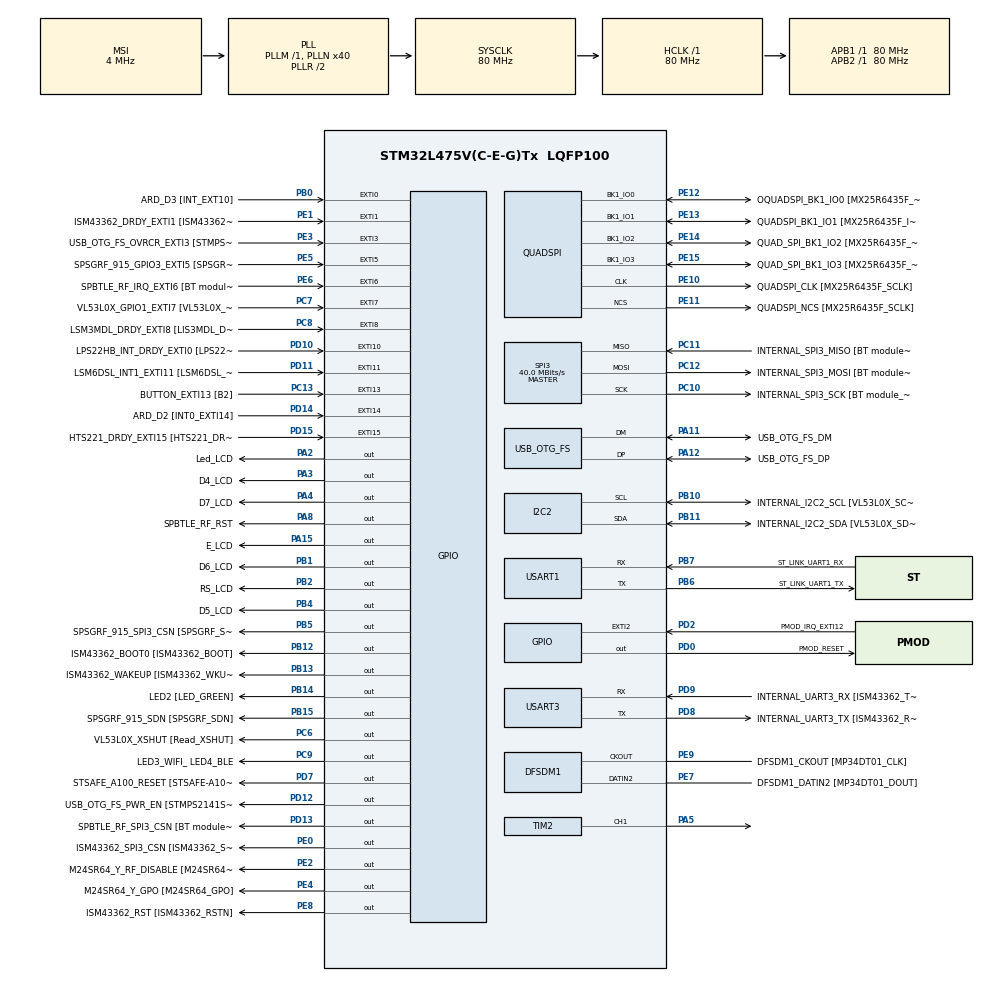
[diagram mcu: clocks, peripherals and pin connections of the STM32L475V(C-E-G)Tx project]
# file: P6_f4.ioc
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I2C2.Timing=0x10909CEC
Mcu.Family=STM32L4
Mcu.Name=STM32L475V(C-E-G)Tx
Mcu.Package=LQFP100
NVIC.EXTI15_10_IRQn=true\:0\:0\:false\:false\:true\:true\:true\:true
NVIC.EXTI9_5_IRQn=true\:0\:0\:false\:false\:true\:true\:true\:true
NVIC.OTG_FS_IRQn=true\:0\:0\:false\:false\:true\:false\:true\:true
NVIC.PriorityGroup=NVIC_PRIORITYGROUP_4
PA0.GPIO_Label=ARD_D1 [UART4_TX]
PA0.Signal=UART4_TX
PA1.GPIO_Label=ARD_D0 [UART4_RX]
PA1.Signal=UART4_RX
PA10.GPIO_Label=USB_OTG_FS_ID
PA10.Signal=USB_OTG_FS_ID
PA11.GPIO_Label=USB_OTG_FS_DM
PA11.Mode=Device_Only
PA11.Signal=USB_OTG_FS_DM
PA12.GPIO_Label=USB_OTG_FS_DP
PA12.Mode=Device_Only
PA12.Signal=USB_OTG_FS_DP
PA13\ (JTMS-SWDIO).GPIO_Label=SYS_JTMS_SWDIO
PA13\ (JTMS-SWDIO).Mode=Serial_Wire
PA13\ (JTMS-SWDIO).Signal=SYS_JTMS-SWDIO
PA14\ (JTCK-SWCLK).GPIO_Label=SYS_JTCK_SWCLK
PA14\ (JTCK-SWCLK).Mode=Serial_Wire
PA14\ (JTCK-SWCLK).Signal=SYS_JTCK-SWCLK
PA15\ (JTDI).GPIO_Label=E_LCD
PA15\ (JTDI).Signal=GPIO_Output
PA2.GPIO_Label=Led_LCD
PA2.Signal=GPIO_Output
PA3.GPIO_Label=D4_LCD
PA3.Signal=GPIO_Output
PA4.GPIO_Label=D7_LCD
PA4.Signal=GPIO_Output
PA5.Signal=S_TIM2_CH1
PA6.GPIO_Label=ARD_D12 [SPI1_MISO]
PA6.Signal=SPI1_MISO
PA7.GPIO_Label=ARD_D11 [SPI1_MOSI]
PA7.Signal=SPI1_MOSI
PA8.GPIO_Label=SPBTLE_RF_RST
PA8.Signal=GPIO_Output
PA9.GPIO_Label=USB_OTG_FS_VBUS [STMPS2141STR_OUT]
PA9.Signal=USB_OTG_FS_VBUS
PB0.GPIO_Label=ARD_D3 [INT_EXT10]
PB0.Signal=GPXTI0
PB1.GPIO_Label=D6_LCD
PB1.Signal=GPIO_Output
PB10.GPIO_Label=INTERNAL_I2C2_SCL [VL53L0X_SCL]
PB10.GPIO_Pu=GPIO_PULLUP
PB10.Mode=I2C
PB10.Signal=I2C2_SCL
PB11.GPIO_Label=INTERNAL_I2C2_SDA [VL53L0X_SDA]
PB11.GPIO_Pu=GPIO_PULLUP
PB11.Mode=I2C
PB11.Signal=I2C2_SDA
PB12.GPIO_Label=ISM43362_BOOT0 [ISM43362_BOOT]
PB12.Signal=GPIO_Output
PB13.GPIO_Label=ISM43362_WAKEUP [ISM43362_WKUP]
PB13.Signal=GPIO_Output
PB14.GPIO_Label=LED2 [LED_GREEN]
PB14.Signal=GPIO_Output
PB15.GPIO_Label=SPSGRF_915_SDN [SPSGRF_SDN]
PB15.Signal=GPIO_Output
PB2.GPIO_Label=RS_LCD
PB2.Signal=GPIO_Output
PB3\ (JTDO-TRACESWO).GPIO_Label=SYS_JTD0_SWO
PB3\ (JTDO-TRACESWO).Signal=SYS_JTDO-SWO
PB4\ (NJTRST).GPIO_Label=D5_LCD
PB4\ (NJTRST).Signal=GPIO_Output
PB5.GPIO_Label=SPSGRF_915_SPI3_CSN [SPSGRF_SPI_CS]
PB5.PinState=GPIO_PIN_SET
PB5.Signal=GPIO_Output
PB6.GPIO_Label=ST_LINK_UART1_TX
PB6.Mode=Asynchronous
PB6.Signal=USART1_TX
PB7.GPIO_Label=ST_LINK_UART1_RX
PB7.Mode=Asynchronous
PB7.Signal=USART1_RX
PB8.GPIO_Label=ARD_D15 [I2C1_SCL]
PB8.Signal=I2C1_SCL
PB9.GPIO_Label=ARD_D14 [I2C1_SDA]
PB9.Signal=I2C1_SDA
PC0.GPIO_Label=ARD_A5 [ADC]
PC0.Signal=ADCx_IN1
PC1.GPIO_Label=ARD_A4 [ADC]
PC1.Signal=ADCx_IN2
PC10.GPIO_Label=INTERNAL_SPI3_SCK [BT module_SPI_SCLK] [ISM43362_SCK]
PC10.Mode=Full_Duplex_Master
PC10.Signal=SPI3_SCK
PC11.GPIO_Label=INTERNAL_SPI3_MISO [BT module_SPI_MISO] [ISM43362_MISO]
PC11.Mode=Full_Duplex_Master
PC11.Signal=SPI3_MISO
PC12.GPIO_Label=INTERNAL_SPI3_MOSI [BT module_SPI_MOSI] [ISM43362_MOSI]
PC12.Mode=Full_Duplex_Master
PC12.Signal=SPI3_MOSI
PC13.GPIO_Label=BUTTON_EXTI13 [B2]
PC13.GPIO_ModeDefaultEXTI=GPIO_MODE_IT_RISING_FALLING
PC13.GPIO_PuPd=GPIO_NOPULL
PC13.Signal=GPXTI13
PC14-OSC32_IN\ (PC14).Mode=LSE-External-Oscillator
PC14-OSC32_IN\ (PC14).Signal=RCC_OSC32_IN
PC15-OSC32_OUT\ (PC15).Mode=LSE-External-Oscillator
PC15-OSC32_OUT\ (PC15).Signal=RCC_OSC32_OUT
PC2.GPIO_Label=ARD_A3 [ADC]
PC2.Signal=ADCx_IN3
PC3.GPIO_Label=ARD_A2 [ADC]
PC3.Signal=ADCx_IN4
PC4.GPIO_Label=ARD_A1 [ADC]
PC4.Signal=ADCx_IN13
PC5.GPIO_Label=ARD_A0 [ADC]
PC5.Signal=ADCx_IN14
PC6.GPIO_Label=VL53L0X_XSHUT [Read_XSHUT]
PC6.Signal=GPIO_Output
PC7.GPIO_Label=VL53L0X_GPIO1_EXTI7 [VL53L0X_GPIO1]
PC7.Signal=GPXTI7
PC8.GPIO_Label=LSM3MDL_DRDY_EXTI8 [LIS3MDL_DRDY]
PC8.Signal=GPXTI8
PC9.GPIO_Label=LED3_WIFI_ LED4_BLE
PC9.Signal=GPIO_Output
PD0.GPIO_Label=PMOD_RESET
PD0.Signal=GPIO_Output
PD1.GPIO_Label=PMOD_SPI2_SCK
PD1.Signal=SPI2_SCK
PD10.GPIO_Label=LPS22HB_INT_DRDY_EXTI0 [LPS22HB_INT_DRDY] 
PD10.Signal=GPXTI10
PD11.GPIO_Label=LSM6DSL_INT1_EXTI11 [LSM6DSL_INT1]
PD11.Signal=GPXTI11
PD12.GPIO_Label=USB_OTG_FS_PWR_EN [STMPS2141STR_EN]
PD12.Signal=GPIO_Output
PD13.GPIO_Label=SPBTLE_RF_SPI3_CSN [BT module_SPI_CS]
PD13.PinState=GPIO_PIN_SET
PD13.Signal=GPIO_Output
PD14.GPIO_Label=ARD_D2 [INT0_EXTI14]
PD14.Signal=GPXTI14
PD15.GPIO_Label=HTS221_DRDY_EXTI15 [HTS221_DRDY]
PD15.Signal=GPXTI15
PD2.GPIO_Label=PMOD_IRQ_EXTI12
PD2.Signal=GPXTI2
PD3.GPIO_Label=PMOD_UART2_CTS
PD3.Signal=USART2_CTS
PD4.GPIO_Label=PMOD_UART2_RTS
PD4.Signal=USART2_RTS
PD5.GPIO_Label=PMOD_UART2_TX
PD5.Signal=USART2_TX
PD6.GPIO_Label=PMOD_UART2_RX
PD6.Signal=USART2_RX
PD7.GPIO_Label=STSAFE_A100_RESET [STSAFE-A100_RESET]
PD7.Signal=GPIO_Output
PD8.GPIO_Label=INTERNAL_UART3_TX [ISM43362_RX]
PD8.Mode=Asynchronous
PD8.Signal=USART3_TX
PD9.GPIO_Label=INTERNAL_UART3_RX [ISM43362_TX]
PD9.Mode=Asynchronous
PD9.Signal=USART3_RX
PE0.GPIO_Label=ISM43362_SPI3_CSN [ISM43362_SSN]
PE0.PinState=GPIO_PIN_SET
PE0.Signal=GPIO_Output
PE1.GPIO_Label=ISM43362_DRDY_EXTI1 [ISM43362_DATARDY]
PE1.Signal=GPXTI1
PE10.GPIO_Label=QUADSPI_CLK [MX25R6435F_SCLK]
PE10.Mode=Single Bank
PE10.Signal=QUADSPI_CLK
PE11.GPIO_Label=QUADSPI_NCS [MX25R6435F_SCLK]
PE11.Mode=Single Bank
PE11.Signal=QUADSPI_NCS
PE12.GPIO_Label=OQUADSPI_BK1_IO0 [MX25R6435F_IO0]
PE12.Mode=Single Bank
PE12.Signal=QUADSPI_BK1_IO0
PE13.GPIO_Label=QUADSPI_BK1_IO1 [MX25R6435F_IO1]
PE13.Mode=Single Bank
PE13.Signal=QUADSPI_BK1_IO1
PE14.GPIO_Label=QUAD_SPI_BK1_IO2 [MX25R6435F_IO2]
PE14.Mode=Single Bank
PE14.Signal=QUADSPI_BK1_IO2
PE15.GPIO_Label=QUAD_SPI_BK1_IO3 [MX25R6435F_IO3]
PE15.Mode=Single Bank
PE15.Signal=QUADSPI_BK1_IO3
PE2.GPIO_Label=M24SR64_Y_RF_DISABLE [M24SR64_RFDIS]
PE2.Signal=GPIO_Output
PE3.GPIO_Label=USB_OTG_FS_OVRCR_EXTI3 [STMPS2141STR_FAULT]
PE3.Signal=GPXTI3
PE4.GPIO_Label=M24SR64_Y_GPO [M24SR64_GPO]
PE4.Signal=GPIO_Output
PE5.GPIO_Label=SPSGRF_915_GPIO3_EXTI5 [SPSGRF_GPIO_3]
PE5.Signal=GPXTI5
PE6.GPIO_Label=SPBTLE_RF_IRQ_EXTI6 [BT module_SPI_IRQ]
PE6.Signal=GPXTI6
PE7.GPIO_Label=DFSDM1_DATIN2 [MP34DT01_DOUT]
PE7.Signal=S_DATAIN2DFSDM1
PE8.GPIO_Label=ISM43362_RST [ISM43362_RSTN]
PE8.Signal=GPIO_Output
PE9.GPIO_Label=DFSDM1_CKOUT [MP34DT01_CLK]
PE9.Signal=S_CKOUTDFSDM1
ProjectManager.HeapSize=0x200
ProjectManager.StackSize=0x400
ProjectManager.TargetToolchain=STM32CubeIDE
QUADSPI.ClockPrescaler=2
QUADSPI.FifoThreshold=4
QUADSPI.FlashSize=23
QUADSPI.SampleShifting=QSPI_SAMPLE_SHIFTING_HALFCYCLE
RCC.ADCFreq_Value=48000000
RCC.AHBFreq_Value=80000000
RCC.APB1Freq_Value=80000000
RCC.APB1TimFreq_Value=80000000
RCC.APB2Freq_Value=80000000
RCC.APB2TimFreq_Value=80000000
RCC.CortexFreq_Value=80000000
RCC.HCLKFreq_Value=80000000
RCC.HSE_VALUE=8000000
RCC.HSI_VALUE=16000000
RCC.MSI_VALUE=4000000
RCC.PLLN=40
RCC.PLLSAI1N=24
RCC.SYSCLKFreq_VALUE=80000000
RCC.SYSCLKSource=RCC_SYSCLKSOURCE_PLLCLK
RCC.USBFreq_Value=48000000
RCC.VCOOutputFreq_Value=160000000
SH.ADCx_IN1.0=ADC1_IN1
SH.ADCx_IN13.0=ADC1_IN13
SH.ADCx_IN14.0=ADC1_IN14
SH.ADCx_IN2.0=ADC1_IN2
SH.ADCx_IN3.0=ADC1_IN3
SH.ADCx_IN4.0=ADC1_IN4
SH.S_CKOUTDFSDM1.0=DFSDM1_CKOUT,CKOUT
SH.S_CKOUTDFSDM1.1=DFSDM1_CKOUT,PDM_SPI_Input_from_ch12_and_Internal_Clock
SH.S_DATAIN2DFSDM1.0=DFSDM1_DATIN2,PDM_SPI_Input_from_ch12_and_Internal_Clock
SH.S_TIM2_CH1.0=TIM2_CH1,PWM Generation1 CH1
SPI3.CalculateBaudRate=40.0 MBits/s
SPI3.Direction=SPI_DIRECTION_2LINES
SPI3.Mode=SPI_MODE_MASTER
SPI3.VirtualType=VM_MASTER
TIM2.Channel-PWM\ Generation1\ CH1=TIM_CHANNEL_1
TIM2.Period=4000
USART1.VirtualMode-Asynchronous=VM_ASYNC
USART3.VirtualMode-Asynchronous=VM_ASYNC
USB_DEVICE.CLASS_NAME_FS=CUSTOM_HID
USB_DEVICE.PID_CUSTOMHID_FS=23456
USB_DEVICE.USBD_CUSTOMHID_OUTREPORT_BUF_SIZE=7
USB_DEVICE.USBD_CUSTOM_HID_REPORT_DESC_SIZE=29
USB_DEVICE.VID=1337
USB_DEVICE.VirtualMode=CustomHid
USB_DEVICE.VirtualModeFS=Custom_Hid_FS
USB_OTG_FS.VirtualMode=Device_Only
VP_USB_DEVICE_VS_USB_DEVICE_CUSTOM_HID_FS.Mode=CUSTOM_HID_FS
board=B-L475E-IOT01A2

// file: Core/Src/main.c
/* USER CODE BEGIN Header */
/**
  ******************************************************************************
  * @file           : main.c
  * @brief          : Main program body
  ******************************************************************************
  * @attention
  *
  * Copyright (c) 2024 STMicroelectronics.
  * All rights reserved.
  *
  * This software is licensed under terms that can be found in the LICENSE file
  * in the root directory of this software component.
  * If no LICENSE file comes with this software, it is provided AS-IS.
  *
  ******************************************************************************
  */
/* USER CODE END Header */
#include "main.h"
#include "usb_device.h"

/* USER CODE BEGIN Includes */
#include "hd44780.h"
/* USER CODE END Includes */

DFSDM_Channel_HandleTypeDef hdfsdm1_channel1;

I2C_HandleTypeDef hi2c2;

QSPI_HandleTypeDef hqspi;

SPI_HandleTypeDef hspi3;

TIM_HandleTypeDef htim2;

UART_HandleTypeDef huart1;
UART_HandleTypeDef huart3;

void SystemClock_Config(void);
static void MX_GPIO_Init(void);
static void MX_DFSDM1_Init(void);
static void MX_I2C2_Init(void);
static void MX_QUADSPI_Init(void);
static void MX_SPI3_Init(void);
static void MX_USART1_UART_Init(void);
static void MX_USART3_UART_Init(void);
static void MX_TIM2_Init(void);

/* USER CODE BEGIN 0 */
extern USBD_HandleTypeDef hUsbDeviceFS;
extern uint8_t miflag;
void setServoPos(float ang){
	if(ang>= 0 && ang<= 180){
    uint16_t grad  = 11.11*ang+500;
 	 __HAL_TIM_SET_COMPARE(&htim2,TIM_CHANNEL_1,grad);
	}
}
/* USER CODE END 0 */

int main(void)
{

  /* MCU Configuration--------------------------------------------------------*/

  /* Reset of all peripherals, Initializes the Flash interface and the Systick. */
  HAL_Init();

  /* Configure the system clock */
  SystemClock_Config();

  /* Initialize all configured peripherals */
  MX_GPIO_Init();
  MX_DFSDM1_Init();
  MX_I2C2_Init();
  MX_QUADSPI_Init();
  MX_SPI3_Init();
  MX_USART1_UART_Init();
  MX_USART3_UART_Init();
  MX_USB_DEVICE_Init();
  MX_TIM2_Init();
  /* USER CODE BEGIN 2 */

lcd_reset();
lcd_display_settings(1,0,0);
lcd_clear();
HAL_GPIO_WritePin(Led_LCD_GPIO_Port, Led_LCD_Pin, 1);
lcd_print("Fase4");
HAL_Delay(5000);

uint8_t dato[6];
USBD_LL_PrepareReceive(&hUsbDeviceFS, 1,dato, 6);
uint8_t datoCiclo[6] = {115,101,116,114,0,0}; //setr ascii
char str[1];
int i;
  /* USER CODE END 2 */

  /* Infinite loop */
  /* USER CODE BEGIN WHILE */
  while (1)
  {
if(miflag==1){
	USBD_LL_PrepareReceive(&hUsbDeviceFS, 1,dato, 6);
	miflag=0; //bajamos la bandera
	//uasumo que un floatocupa cuatro bytes 32 bits
	//raconstruimos el ángulo
	//float ang = (float)((dato[3]<<24)|(dato[2]<<16)|(dato[1]<<8)|dato[0]);
	float ang = (float)dato[0];
	//siempre imprimimos el caracter en la pantalla
	lcd_clear();
	char string[20];
	//enablear el float
	setServoPos(ang);
	sprintf(str,"Ang: %.1f",ang);
	lcd_print(string);

}
//enviamos esta cadena  para saber que se ha terminado el ciclo
USBD_CUSTOM_HID_SendReport_FS(datoCiclo,6);
    /* USER CODE END WHILE */

  }
}

void SystemClock_Config(void)
{
  RCC_OscInitTypeDef RCC_OscInitStruct = {0};
  RCC_ClkInitTypeDef RCC_ClkInitStruct = {0};

  /** Configure the main internal regulator output voltage
  */
  if (HAL_PWREx_ControlVoltageScaling(PWR_REGULATOR_VOLTAGE_SCALE1) != HAL_OK)
  {
    Error_Handler();
  }

  /** Configure LSE Drive Capability
  */
  HAL_PWR_EnableBkUpAccess();
  __HAL_RCC_LSEDRIVE_CONFIG(RCC_LSEDRIVE_LOW);

  /** Initializes the RCC Oscillators according to the specified parameters
  * in the RCC_OscInitTypeDef structure.
  */
  RCC_OscInitStruct.OscillatorType = RCC_OSCILLATORTYPE_LSE|RCC_OSCILLATORTYPE_MSI;
  RCC_OscInitStruct.LSEState = RCC_LSE_ON;
  RCC_OscInitStruct.MSIState = RCC_MSI_ON;
  RCC_OscInitStruct.MSICalibrationValue = 0;
  RCC_OscInitStruct.MSIClockRange = RCC_MSIRANGE_6;
  RCC_OscInitStruct.PLL.PLLState = RCC_PLL_ON;
  RCC_OscInitStruct.PLL.PLLSource = RCC_PLLSOURCE_MSI;
  RCC_OscInitStruct.PLL.PLLM = 1;
  RCC_OscInitStruct.PLL.PLLN = 40;
  RCC_OscInitStruct.PLL.PLLP = RCC_PLLP_DIV7;
  RCC_OscInitStruct.PLL.PLLQ = RCC_PLLQ_DIV2;
  RCC_OscInitStruct.PLL.PLLR = RCC_PLLR_DIV2;
  if (HAL_RCC_OscConfig(&RCC_OscInitStruct) != HAL_OK)
  {
    Error_Handler();
  }

  /** Initializes the CPU, AHB and APB buses clocks
  */
  RCC_ClkInitStruct.ClockType = RCC_CLOCKTYPE_HCLK|RCC_CLOCKTYPE_SYSCLK
                              |RCC_CLOCKTYPE_PCLK1|RCC_CLOCKTYPE_PCLK2;
  RCC_ClkInitStruct.SYSCLKSource = RCC_SYSCLKSOURCE_PLLCLK;
  RCC_ClkInitStruct.AHBCLKDivider = RCC_SYSCLK_DIV1;
  RCC_ClkInitStruct.APB1CLKDivider = RCC_HCLK_DIV1;
  RCC_ClkInitStruct.APB2CLKDivider = RCC_HCLK_DIV1;

  if (HAL_RCC_ClockConfig(&RCC_ClkInitStruct, FLASH_LATENCY_4) != HAL_OK)
  {
    Error_Handler();
  }

  /** Enable MSI Auto calibration
  */
  HAL_RCCEx_EnableMSIPLLMode();
}

static void MX_DFSDM1_Init(void)
{

  hdfsdm1_channel1.Instance = DFSDM1_Channel1;
  hdfsdm1_channel1.Init.OutputClock.Activation = ENABLE;
  hdfsdm1_channel1.Init.OutputClock.Selection = DFSDM_CHANNEL_OUTPUT_CLOCK_SYSTEM;
  hdfsdm1_channel1.Init.OutputClock.Divider = 2;
  hdfsdm1_channel1.Init.Input.Multiplexer = DFSDM_CHANNEL_EXTERNAL_INPUTS;
  hdfsdm1_channel1.Init.Input.DataPacking = DFSDM_CHANNEL_STANDARD_MODE;
  hdfsdm1_channel1.Init.Input.Pins = DFSDM_CHANNEL_FOLLOWING_CHANNEL_PINS;
  hdfsdm1_channel1.Init.SerialInterface.Type = DFSDM_CHANNEL_SPI_RISING;
  hdfsdm1_channel1.Init.SerialInterface.SpiClock = DFSDM_CHANNEL_SPI_CLOCK_INTERNAL;
  hdfsdm1_channel1.Init.Awd.FilterOrder = DFSDM_CHANNEL_FASTSINC_ORDER;
  hdfsdm1_channel1.Init.Awd.Oversampling = 1;
  hdfsdm1_channel1.Init.Offset = 0;
  hdfsdm1_channel1.Init.RightBitShift = 0x00;
  if (HAL_DFSDM_ChannelInit(&hdfsdm1_channel1) != HAL_OK)
  {
    Error_Handler();
  }

}

static void MX_I2C2_Init(void)
{

  hi2c2.Instance = I2C2;
  hi2c2.Init.Timing = 0x10909CEC;
  hi2c2.Init.OwnAddress1 = 0;
  hi2c2.Init.AddressingMode = I2C_ADDRESSINGMODE_7BIT;
  hi2c2.Init.DualAddressMode = I2C_DUALADDRESS_DISABLE;
  hi2c2.Init.OwnAddress2 = 0;
  hi2c2.Init.OwnAddress2Masks = I2C_OA2_NOMASK;
  hi2c2.Init.GeneralCallMode = I2C_GENERALCALL_DISABLE;
  hi2c2.Init.NoStretchMode = I2C_NOSTRETCH_DISABLE;
  if (HAL_I2C_Init(&hi2c2) != HAL_OK)
  {
    Error_Handler();
  }

  /** Configure Analogue filter
  */
  if (HAL_I2CEx_ConfigAnalogFilter(&hi2c2, I2C_ANALOGFILTER_ENABLE) != HAL_OK)
  {
    Error_Handler();
  }

  /** Configure Digital filter
  */
  if (HAL_I2CEx_ConfigDigitalFilter(&hi2c2, 0) != HAL_OK)
  {
    Error_Handler();
  }

}

static void MX_QUADSPI_Init(void)
{

  /* QUADSPI parameter configuration*/
  hqspi.Instance = QUADSPI;
  hqspi.Init.ClockPrescaler = 2;
  hqspi.Init.FifoThreshold = 4;
  hqspi.Init.SampleShifting = QSPI_SAMPLE_SHIFTING_HALFCYCLE;
  hqspi.Init.FlashSize = 23;
  hqspi.Init.ChipSelectHighTime = QSPI_CS_HIGH_TIME_1_CYCLE;
  hqspi.Init.ClockMode = QSPI_CLOCK_MODE_0;
  if (HAL_QSPI_Init(&hqspi) != HAL_OK)
  {
    Error_Handler();
  }

}

static void MX_SPI3_Init(void)
{

  /* SPI3 parameter configuration*/
  hspi3.Instance = SPI3;
  hspi3.Init.Mode = SPI_MODE_MASTER;
  hspi3.Init.Direction = SPI_DIRECTION_2LINES;
  hspi3.Init.DataSize = SPI_DATASIZE_4BIT;
  hspi3.Init.CLKPolarity = SPI_POLARITY_LOW;
  hspi3.Init.CLKPhase = SPI_PHASE_1EDGE;
  hspi3.Init.NSS = SPI_NSS_SOFT;
  hspi3.Init.BaudRatePrescaler = SPI_BAUDRATEPRESCALER_2;
  hspi3.Init.FirstBit = SPI_FIRSTBIT_MSB;
  hspi3.Init.TIMode = SPI_TIMODE_DISABLE;
  hspi3.Init.CRCCalculation = SPI_CRCCALCULATION_DISABLE;
  hspi3.Init.CRCPolynomial = 7;
  hspi3.Init.CRCLength = SPI_CRC_LENGTH_DATASIZE;
  hspi3.Init.NSSPMode = SPI_NSS_PULSE_ENABLE;
  if (HAL_SPI_Init(&hspi3) != HAL_OK)
  {
    Error_Handler();
  }

}

static void MX_TIM2_Init(void)
{

  TIM_MasterConfigTypeDef sMasterConfig = {0};
  TIM_OC_InitTypeDef sConfigOC = {0};

  htim2.Instance = TIM2;
  htim2.Init.Prescaler = 0;
  htim2.Init.CounterMode = TIM_COUNTERMODE_UP;
  htim2.Init.Period = 4000;
  htim2.Init.ClockDivision = TIM_CLOCKDIVISION_DIV1;
  htim2.Init.AutoReloadPreload = TIM_AUTORELOAD_PRELOAD_DISABLE;
  if (HAL_TIM_PWM_Init(&htim2) != HAL_OK)
  {
    Error_Handler();
  }
  sMasterConfig.MasterOutputTrigger = TIM_TRGO_RESET;
  sMasterConfig.MasterSlaveMode = TIM_MASTERSLAVEMODE_DISABLE;
  if (HAL_TIMEx_MasterConfigSynchronization(&htim2, &sMasterConfig) != HAL_OK)
  {
    Error_Handler();
  }
  sConfigOC.OCMode = TIM_OCMODE_PWM1;
  sConfigOC.Pulse = 0;
  sConfigOC.OCPolarity = TIM_OCPOLARITY_HIGH;
  sConfigOC.OCFastMode = TIM_OCFAST_DISABLE;
  if (HAL_TIM_PWM_ConfigChannel(&htim2, &sConfigOC, TIM_CHANNEL_1) != HAL_OK)
  {
    Error_Handler();
  }
  HAL_TIM_MspPostInit(&htim2);

}

static void MX_USART1_UART_Init(void)
{

  huart1.Instance = USART1;
  huart1.Init.BaudRate = 115200;
  huart1.Init.WordLength = UART_WORDLENGTH_8B;
  huart1.Init.StopBits = UART_STOPBITS_1;
  huart1.Init.Parity = UART_PARITY_NONE;
  huart1.Init.Mode = UART_MODE_TX_RX;
  huart1.Init.HwFlowCtl = UART_HWCONTROL_NONE;
  huart1.Init.OverSampling = UART_OVERSAMPLING_16;
  huart1.Init.OneBitSampling = UART_ONE_BIT_SAMPLE_DISABLE;
  huart1.AdvancedInit.AdvFeatureInit = UART_ADVFEATURE_NO_INIT;
  if (HAL_UART_Init(&huart1) != HAL_OK)
  {
    Error_Handler();
  }

}

static void MX_USART3_UART_Init(void)
{

  huart3.Instance = USART3;
  huart3.Init.BaudRate = 115200;
  huart3.Init.WordLength = UART_WORDLENGTH_8B;
  huart3.Init.StopBits = UART_STOPBITS_1;
  huart3.Init.Parity = UART_PARITY_NONE;
  huart3.Init.Mode = UART_MODE_TX_RX;
  huart3.Init.HwFlowCtl = UART_HWCONTROL_NONE;
  huart3.Init.OverSampling = UART_OVERSAMPLING_16;
  huart3.Init.OneBitSampling = UART_ONE_BIT_SAMPLE_DISABLE;
  huart3.AdvancedInit.AdvFeatureInit = UART_ADVFEATURE_NO_INIT;
  if (HAL_UART_Init(&huart3) != HAL_OK)
  {
    Error_Handler();
  }

}

static void MX_GPIO_Init(void)
{
  GPIO_InitTypeDef GPIO_InitStruct = {0};

  /* GPIO Ports Clock Enable */
  __HAL_RCC_GPIOE_CLK_ENABLE();
  __HAL_RCC_GPIOC_CLK_ENABLE();
  __HAL_RCC_GPIOA_CLK_ENABLE();
  __HAL_RCC_GPIOB_CLK_ENABLE();
  __HAL_RCC_GPIOD_CLK_ENABLE();

  /*Configure GPIO pin Output Level */
  HAL_GPIO_WritePin(GPIOE, M24SR64_Y_RF_DISABLE_Pin|M24SR64_Y_GPO_Pin|ISM43362_RST_Pin, GPIO_PIN_RESET);

  /*Configure GPIO pin Output Level */
  HAL_GPIO_WritePin(GPIOA, Led_LCD_Pin|D4_LCD_Pin|D7_LCD_Pin|SPBTLE_RF_RST_Pin
                          |E_LCD_Pin, GPIO_PIN_RESET);

  /*Configure GPIO pin Output Level */
  HAL_GPIO_WritePin(GPIOB, D6_LCD_Pin|RS_LCD_Pin|ISM43362_BOOT0_Pin|ISM43362_WAKEUP_Pin
                          |LED2_Pin|SPSGRF_915_SDN_Pin|D5_LCD_Pin, GPIO_PIN_RESET);

  /*Configure GPIO pin Output Level */
  HAL_GPIO_WritePin(GPIOD, USB_OTG_FS_PWR_EN_Pin|PMOD_RESET_Pin|STSAFE_A100_RESET_Pin, GPIO_PIN_RESET);

  /*Configure GPIO pin Output Level */
  HAL_GPIO_WritePin(SPBTLE_RF_SPI3_CSN_GPIO_Port, SPBTLE_RF_SPI3_CSN_Pin, GPIO_PIN_SET);

  /*Configure GPIO pin Output Level */
  HAL_GPIO_WritePin(GPIOC, VL53L0X_XSHUT_Pin|LED3_WIFI__LED4_BLE_Pin, GPIO_PIN_RESET);

  /*Configure GPIO pin Output Level */
  HAL_GPIO_WritePin(SPSGRF_915_SPI3_CSN_GPIO_Port, SPSGRF_915_SPI3_CSN_Pin, GPIO_PIN_SET);

  /*Configure GPIO pin Output Level */
  HAL_GPIO_WritePin(ISM43362_SPI3_CSN_GPIO_Port, ISM43362_SPI3_CSN_Pin, GPIO_PIN_SET);

  /*Configure GPIO pins : M24SR64_Y_RF_DISABLE_Pin M24SR64_Y_GPO_Pin ISM43362_RST_Pin ISM43362_SPI3_CSN_Pin */
  GPIO_InitStruct.Pin = M24SR64_Y_RF_DISABLE_Pin|M24SR64_Y_GPO_Pin|ISM43362_RST_Pin|ISM43362_SPI3_CSN_Pin;
  GPIO_InitStruct.Mode = GPIO_MODE_OUTPUT_PP;
  GPIO_InitStruct.Pull = GPIO_NOPULL;
  GPIO_InitStruct.Speed = GPIO_SPEED_FREQ_LOW;
  HAL_GPIO_Init(GPIOE, &GPIO_InitStruct);

  /*Configure GPIO pins : USB_OTG_FS_OVRCR_EXTI3_Pin SPSGRF_915_GPIO3_EXTI5_Pin SPBTLE_RF_IRQ_EXTI6_Pin ISM43362_DRDY_EXTI1_Pin */
  GPIO_InitStruct.Pin = USB_OTG_FS_OVRCR_EXTI3_Pin|SPSGRF_915_GPIO3_EXTI5_Pin|SPBTLE_RF_IRQ_EXTI6_Pin|ISM43362_DRDY_EXTI1_Pin;
  GPIO_InitStruct.Mode = GPIO_MODE_IT_RISING;
  GPIO_InitStruct.Pull = GPIO_NOPULL;
  HAL_GPIO_Init(GPIOE, &GPIO_InitStruct);

  /*Configure GPIO pin : BUTTON_EXTI13_Pin */
  GPIO_InitStruct.Pin = BUTTON_EXTI13_Pin;
  GPIO_InitStruct.Mode = GPIO_MODE_IT_RISING_FALLING;
  GPIO_InitStruct.Pull = GPIO_NOPULL;
  HAL_GPIO_Init(BUTTON_EXTI13_GPIO_Port, &GPIO_InitStruct);

  /*Configure GPIO pins : ARD_A5_Pin ARD_A4_Pin ARD_A3_Pin ARD_A2_Pin
                           ARD_A1_Pin ARD_A0_Pin */
  GPIO_InitStruct.Pin = ARD_A5_Pin|ARD_A4_Pin|ARD_A3_Pin|ARD_A2_Pin
                          |ARD_A1_Pin|ARD_A0_Pin;
  GPIO_InitStruct.Mode = GPIO_MODE_ANALOG_ADC_CONTROL;
  GPIO_InitStruct.Pull = GPIO_NOPULL;
  HAL_GPIO_Init(GPIOC, &GPIO_InitStruct);

  /*Configure GPIO pins : ARD_D1_Pin ARD_D0_Pin */
  GPIO_InitStruct.Pin = ARD_D1_Pin|ARD_D0_Pin;
  GPIO_InitStruct.Mode = GPIO_MODE_AF_PP;
  GPIO_InitStruct.Pull = GPIO_NOPULL;
  GPIO_InitStruct.Speed = GPIO_SPEED_FREQ_VERY_HIGH;
  GPIO_InitStruct.Alternate = GPIO_AF8_UART4;
  HAL_GPIO_Init(GPIOA, &GPIO_InitStruct);

  /*Configure GPIO pins : Led_LCD_Pin D4_LCD_Pin D7_LCD_Pin SPBTLE_RF_RST_Pin
                           E_LCD_Pin */
  GPIO_InitStruct.Pin = Led_LCD_Pin|D4_LCD_Pin|D7_LCD_Pin|SPBTLE_RF_RST_Pin
                          |E_LCD_Pin;
  GPIO_InitStruct.Mode = GPIO_MODE_OUTPUT_PP;
  GPIO_InitStruct.Pull = GPIO_NOPULL;
  GPIO_InitStruct.Speed = GPIO_SPEED_FREQ_LOW;
  HAL_GPIO_Init(GPIOA, &GPIO_InitStruct);

  /*Configure GPIO pins : ARD_D12_Pin ARD_D11_Pin */
  GPIO_InitStruct.Pin = ARD_D12_Pin|ARD_D11_Pin;
  GPIO_InitStruct.Mode = GPIO_MODE_AF_PP;
  GPIO_InitStruct.Pull = GPIO_NOPULL;
  GPIO_InitStruct.Speed = GPIO_SPEED_FREQ_VERY_HIGH;
  GPIO_InitStruct.Alternate = GPIO_AF5_SPI1;
  HAL_GPIO_Init(GPIOA, &GPIO_InitStruct);

  /*Configure GPIO pin : ARD_D3_Pin */
  GPIO_InitStruct.Pin = ARD_D3_Pin;
  GPIO_InitStruct.Mode = GPIO_MODE_IT_RISING;
  GPIO_InitStruct.Pull = GPIO_NOPULL;
  HAL_GPIO_Init(ARD_D3_GPIO_Port, &GPIO_InitStruct);

  /*Configure GPIO pins : D6_LCD_Pin RS_LCD_Pin ISM43362_BOOT0_Pin ISM43362_WAKEUP_Pin
                           LED2_Pin SPSGRF_915_SDN_Pin D5_LCD_Pin SPSGRF_915_SPI3_CSN_Pin */
  GPIO_InitStruct.Pin = D6_LCD_Pin|RS_LCD_Pin|ISM43362_BOOT0_Pin|ISM43362_WAKEUP_Pin
                          |LED2_Pin|SPSGRF_915_SDN_Pin|D5_LCD_Pin|SPSGRF_915_SPI3_CSN_Pin;
  GPIO_InitStruct.Mode = GPIO_MODE_OUTPUT_PP;
  GPIO_InitStruct.Pull = GPIO_NOPULL;
  GPIO_InitStruct.Speed = GPIO_SPEED_FREQ_LOW;
  HAL_GPIO_Init(GPIOB, &GPIO_InitStruct);

  /*Configure GPIO pins : LPS22HB_INT_DRDY_EXTI0_Pin LSM6DSL_INT1_EXTI11_Pin ARD_D2_Pin HTS221_DRDY_EXTI15_Pin
                           PMOD_IRQ_EXTI12_Pin */
  GPIO_InitStruct.Pin = LPS22HB_INT_DRDY_EXTI0_Pin|LSM6DSL_INT1_EXTI11_Pin|ARD_D2_Pin|HTS221_DRDY_EXTI15_Pin
                          |PMOD_IRQ_EXTI12_Pin;
  GPIO_InitStruct.Mode = GPIO_MODE_IT_RISING;
  GPIO_InitStruct.Pull = GPIO_NOPULL;
  HAL_GPIO_Init(GPIOD, &GPIO_InitStruct);

  /*Configure GPIO pins : USB_OTG_FS_PWR_EN_Pin SPBTLE_RF_SPI3_CSN_Pin PMOD_RESET_Pin STSAFE_A100_RESET_Pin */
  GPIO_InitStruct.Pin = USB_OTG_FS_PWR_EN_Pin|SPBTLE_RF_SPI3_CSN_Pin|PMOD_RESET_Pin|STSAFE_A100_RESET_Pin;
  GPIO_InitStruct.Mode = GPIO_MODE_OUTPUT_PP;
  GPIO_InitStruct.Pull = GPIO_NOPULL;
  GPIO_InitStruct.Speed = GPIO_SPEED_FREQ_LOW;
  HAL_GPIO_Init(GPIOD, &GPIO_InitStruct);

  /*Configure GPIO pins : VL53L0X_XSHUT_Pin LED3_WIFI__LED4_BLE_Pin */
  GPIO_InitStruct.Pin = VL53L0X_XSHUT_Pin|LED3_WIFI__LED4_BLE_Pin;
  GPIO_InitStruct.Mode = GPIO_MODE_OUTPUT_PP;
  GPIO_InitStruct.Pull = GPIO_NOPULL;
  GPIO_InitStruct.Speed = GPIO_SPEED_FREQ_LOW;
  HAL_GPIO_Init(GPIOC, &GPIO_InitStruct);

  /*Configure GPIO pins : VL53L0X_GPIO1_EXTI7_Pin LSM3MDL_DRDY_EXTI8_Pin */
  GPIO_InitStruct.Pin = VL53L0X_GPIO1_EXTI7_Pin|LSM3MDL_DRDY_EXTI8_Pin;
  GPIO_InitStruct.Mode = GPIO_MODE_IT_RISING;
  GPIO_InitStruct.Pull = GPIO_NOPULL;
  HAL_GPIO_Init(GPIOC, &GPIO_InitStruct);

  /*Configure GPIO pin : PMOD_SPI2_SCK_Pin */
  GPIO_InitStruct.Pin = PMOD_SPI2_SCK_Pin;
  GPIO_InitStruct.Mode = GPIO_MODE_AF_PP;
  GPIO_InitStruct.Pull = GPIO_NOPULL;
  GPIO_InitStruct.Speed = GPIO_SPEED_FREQ_VERY_HIGH;
  GPIO_InitStruct.Alternate = GPIO_AF5_SPI2;
  HAL_GPIO_Init(PMOD_SPI2_SCK_GPIO_Port, &GPIO_InitStruct);

  /*Configure GPIO pins : PMOD_UART2_CTS_Pin PMOD_UART2_RTS_Pin PMOD_UART2_TX_Pin PMOD_UART2_RX_Pin */
  GPIO_InitStruct.Pin = PMOD_UART2_CTS_Pin|PMOD_UART2_RTS_Pin|PMOD_UART2_TX_Pin|PMOD_UART2_RX_Pin;
  GPIO_InitStruct.Mode = GPIO_MODE_AF_PP;
  GPIO_InitStruct.Pull = GPIO_NOPULL;
  GPIO_InitStruct.Speed = GPIO_SPEED_FREQ_VERY_HIGH;
  GPIO_InitStruct.Alternate = GPIO_AF7_USART2;
  HAL_GPIO_Init(GPIOD, &GPIO_InitStruct);

  /*Configure GPIO pins : ARD_D15_Pin ARD_D14_Pin */
  GPIO_InitStruct.Pin = ARD_D15_Pin|ARD_D14_Pin;
  GPIO_InitStruct.Mode = GPIO_MODE_AF_OD;
  GPIO_InitStruct.Pull = GPIO_NOPULL;
  GPIO_InitStruct.Speed = GPIO_SPEED_FREQ_VERY_HIGH;
  GPIO_InitStruct.Alternate = GPIO_AF4_I2C1;
  HAL_GPIO_Init(GPIOB, &GPIO_InitStruct);

  /* EXTI interrupt init*/
  HAL_NVIC_SetPriority(EXTI9_5_IRQn, 0, 0);
  HAL_NVIC_EnableIRQ(EXTI9_5_IRQn);

  HAL_NVIC_SetPriority(EXTI15_10_IRQn, 0, 0);
  HAL_NVIC_EnableIRQ(EXTI15_10_IRQn);

}

void Error_Handler(void)
{
  __disable_irq();
  while (1)
  {
  }
}
